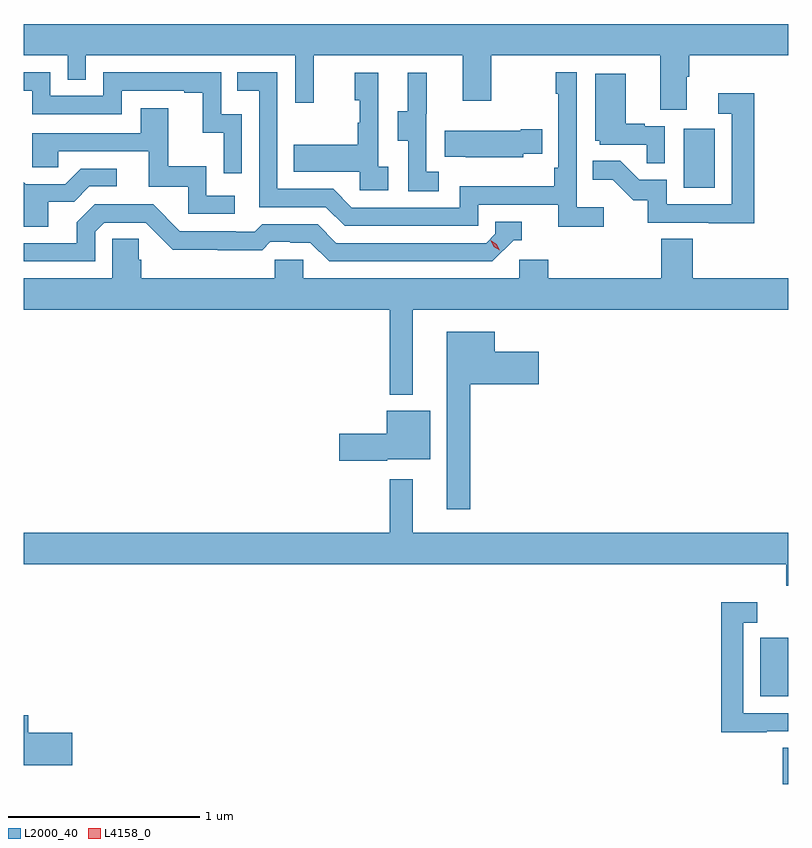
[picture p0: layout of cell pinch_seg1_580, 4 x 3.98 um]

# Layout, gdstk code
import gdstk
lib = gdstk.Library(unit=1e-6, precision=1e-09)
def R(c, l, rs):  # rectangles x0, y0, x1, y1
    for r in rs: c.add(gdstk.rectangle(r[:2], r[2:], *l))
def P(c, l, *ps):  # polygons
    for p in ps: c.add(gdstk.Polygon(p, *l))
L2000_40 = (2000, 40)
L4158_0 = (4158, 0)

pinch_seg1_580 = lib.new_cell('pinch_seg1_580')
R(pinch_seg1_580, L2000_40, [(1035.455,503.962,1035.483,504.152), (1035.338,504.42,1035.483,504.727), (1034.936,507.084,1035.1,507.391)])
P(pinch_seg1_580, L2000_40, [(1034.953,507.664),(1034.966,507.664),(1034.966,507.776),(1035.483,507.776),(1035.483,507.94),(1031.483,507.94),(1031.483,507.776),(1031.712,507.776),(1031.712,507.649),(1031.808,507.649),(1031.808,507.776),(1032.903,507.776),(1032.903,507.528),(1033.001,507.528),(1033.001,507.776),(1033.781,507.776),(1033.781,507.537),(1033.929,507.537),(1033.929,507.776),(1034.813,507.776),(1034.813,507.49),(1034.953,507.49)],
  [(1034.518,506.98),(1034.376,506.98),(1034.376,507.688),(1034.268,507.688),(1034.268,507.575),(1034.28,507.575),(1034.28,507.187),(1034.26,507.187),(1034.26,507.091),(1033.764,507.091),(1033.764,506.979),(1033.2,506.979),(1033.101,507.078),(1032.81,507.078),(1032.81,507.687),(1032.601,507.687),(1032.601,507.591),(1032.714,507.591),(1032.714,506.982),(1033.064,506.982),(1033.163,506.883),(1033.86,506.883),(1033.86,506.994),(1034.279,506.994),(1034.279,506.878),(1034.518,506.878)],
  [(1032.624,507.468),(1032.516,507.468),(1032.516,507.687),(1031.898,507.687),(1031.898,507.564),(1031.622,507.564),(1031.622,507.687),(1031.483,507.687),(1031.483,507.591),(1031.526,507.591),(1031.526,507.468),(1031.994,507.468),(1031.994,507.591),(1032.323,507.591),(1032.323,507.579),(1032.419,507.579),(1032.419,507.371),(1032.528,507.371),(1032.528,507.159),(1032.624,507.159)],
  [(1033.654,507.167),(1033.59,507.167),(1033.59,507.471),(1033.592,507.471),(1033.592,507.685),(1033.493,507.685),(1033.493,507.483),(1033.439,507.483),(1033.439,507.328),(1033.494,507.328),(1033.494,507.064),(1033.654,507.064)],
  [(1033.39,507.194),(1033.338,507.194),(1033.338,507.685),(1033.214,507.685),(1033.214,507.54),(1033.24,507.54),(1033.24,507.422),(1033.23,507.422),(1033.23,507.307),(1032.895,507.307),(1032.895,507.167),(1033.242,507.167),(1033.242,507.069),(1033.39,507.069)],
  [(1034.838,507.405),(1034.732,507.405),(1034.732,507.418),(1034.632,507.418),(1034.632,507.679),(1034.474,507.679),(1034.474,507.33),(1034.496,507.33),(1034.496,507.309),(1034.743,507.309),(1034.743,507.211),(1034.838,507.211)],
  [(1035.305,507.577),(1035.117,507.577),(1035.117,507.471),(1035.189,507.471),(1035.189,506.997),(1034.847,506.997),(1034.847,507.126),(1034.703,507.126),(1034.605,507.224),(1034.461,507.224),(1034.461,507.125),(1034.565,507.125),(1034.672,507.018),(1034.749,507.018),(1034.749,506.901),(1035.067,506.901),(1035.067,506.896),(1035.305,506.896)],
  [(1032.586,507.042),(1032.438,507.042),(1032.438,507.196),(1032.239,507.196),(1032.239,507.499),(1032.095,507.499),(1032.095,507.369),(1031.526,507.369),(1031.526,507.189),(1031.663,507.189),(1031.663,507.273),(1032.137,507.273),(1032.137,507.087),(1032.342,507.087),(1032.342,506.946),(1032.586,506.946)],
  [(1034.097,507.26),(1034.195,507.26),(1034.195,507.39),(1034.084,507.39),(1034.084,507.382),(1033.687,507.382),(1033.687,507.245),(1033.795,507.245),(1033.795,507.242),(1034.097,507.242)],
  [(1031.611,507.01),(1031.746,507.01),(1031.826,507.09),(1031.968,507.09),(1031.968,507.183),(1031.78,507.183),(1031.699,507.102),(1031.493,507.102),(1031.483,507.112),(1031.483,506.878),(1031.611,506.878)],
  [(1031.856,506.853),(1031.904,506.901),(1032.12,506.901),(1032.262,506.759),(1032.498,506.759),(1032.498,506.757),(1032.731,506.757),(1032.773,506.799),(1032.876,506.799),(1032.876,506.796),(1032.983,506.796),(1033.082,506.697),(1033.935,506.697),(1034.046,506.808),(1034.089,506.808),(1034.089,506.904),(1033.95,506.904),(1033.95,506.841),(1033.902,506.793),(1033.119,506.793),(1033.02,506.892),(1032.731,506.892),(1032.692,506.853),(1032.593,506.853),(1032.593,506.856),(1032.3,506.856),(1032.159,506.997),(1031.853,506.997),(1031.759,506.903),(1031.759,506.793),(1031.483,506.793),(1031.483,506.697),(1031.856,506.697)],
  [(1033.519,506.444),(1035.483,506.444),(1035.483,506.608),(1034.984,506.608),(1034.984,506.816),(1034.819,506.816),(1034.819,506.608),(1034.228,506.608),(1034.228,506.706),(1034.076,506.706),(1034.076,506.608),(1032.945,506.608),(1032.945,506.706),(1032.795,506.706),(1032.795,506.608),(1032.098,506.608),(1032.098,506.706),(1032.083,506.706),(1032.083,506.816),(1031.946,506.816),(1031.946,506.608),(1031.483,506.608),(1031.483,506.444),(1033.398,506.444),(1033.398,506),(1033.519,506)],
  [(1033.819,506.054),(1034.179,506.054),(1034.179,506.224),(1033.948,506.224),(1033.948,506.329),(1033.697,506.329),(1033.697,505.401),(1033.819,505.401)],
  [(1033.386,505.661),(1033.609,505.661),(1033.609,505.915),(1033.382,505.915),(1033.382,505.796),(1033.134,505.796),(1033.134,505.654),(1033.386,505.654)],
  [(1035.483,505.276),(1033.519,505.276),(1033.519,505.558),(1033.398,505.558),(1033.398,505.276),(1031.483,505.276),(1031.483,505.112),(1035.473,505.112),(1035.473,505),(1035.483,505)],
  [(1035.371,504.237),(1035.483,504.237),(1035.483,504.333),(1035.249,504.333),(1035.249,504.807),(1035.322,504.807),(1035.322,504.913),(1035.133,504.913),(1035.133,504.232),(1035.371,504.232)],
  [(1031.737,504.23),(1031.506,504.23),(1031.506,504.322),(1031.483,504.322),(1031.483,504.059),(1031.737,504.059)])
P(pinch_seg1_580, L4158_0, [(1033.974,506.756),(1033.943,506.775),(1033.926,506.807),(1033.926,506.808),(1033.927,506.808),(1033.958,506.788),(1033.974,506.756),(1033.974,506.756)])

lib.write_gds('pinch_seg1_580.gds')
